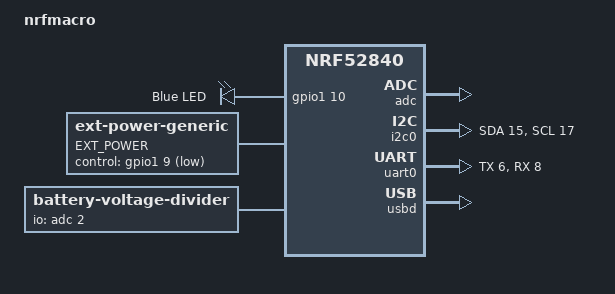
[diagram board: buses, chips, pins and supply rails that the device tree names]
/*
 * Copyright (c) 2020 The ZMK Contributors
 *
 * SPDX-License-Identifier: MIT
 */

/dts-v1/;
#include <nordic/nrf52840_qiaa.dtsi>
#include "arduino_pro_micro_pins.dtsi"

/ {
	model = "nrfmacro";
	compatible = "ufan,nrfmacro";

	chosen {
		zephyr,code-partition = &code_partition;
		zephyr,sram = &sram0;
		zephyr,flash = &flash0;
		zephyr,console = &cdc_acm_uart;
	};

	leds {
		compatible = "gpio-leds";
		blue_led: led_0 {
			gpios = <&gpio1 10 GPIO_ACTIVE_HIGH>;
			label = "Blue LED";
		};
	};

	vcc_ctrl: ext-power {
		compatible = "zmk,ext-power-generic";
		label = "EXT_POWER";
		control-gpios = <&gpio1 9 GPIO_ACTIVE_LOW>;
	};

	vbatt: vbatt {
		compatible = "zmk,battery-voltage-divider";
		label = "BATTERY";
		io-channels = <&adc 2>;
		output-ohms = <2000000>;
		full-ohms = <(2000000 + 820000)>;
	};
};

&adc {
	status = "okay";
};

&gpiote {
	status = "okay";
};

&gpio0 {
	status = "okay";
};

&gpio1 {
	status = "okay";
};

&i2c0 {
	compatible = "nordic,nrf-twi";
	sda-pin = <15>;
	scl-pin = <17>;
};

&uart0 {
	compatible = "nordic,nrf-uarte";
	tx-pin = <6>;
	rx-pin = <8>;
};

&usbd {
	status = "okay";
	cdc_acm_uart: cdc_acm_uart {
		compatible = "zephyr,cdc-acm-uart";
		label = "CDC_ACM_0";
	};
};


&flash0 {
	/*
	 * For more information, see:
	 * http://docs.zephyrproject.org/latest/devices/dts/flash_partitions.html
	 */
	partitions {
		compatible = "fixed-partitions";
		#address-cells = <1>;
		#size-cells = <1>;

		sd_partition: partition@0 {
			label = "softdevice";
			reg = <0x00000000 0x00026000>;
		};
		code_partition: partition@26000 {
			label = "code_partition";
			reg = <0x00026000 0x000c6000>;
		};

		/*
		 * The flash starting at 0x000ec000 and ending at
		 * 0x000f3fff is reserved for use by the application.
		 */

		/*
		 * Storage partition will be used by FCB/LittleFS/NVS
		 * if enabled.
		 */
		storage_partition: partition@ec000 {
			label = "storage";
			reg = <0x000ec000 0x00008000>;
		};

		boot_partition: partition@f4000 {
			label = "adafruit_boot";
			reg = <0x000f4000 0x0000c000>;
		};
	};
};

&spi1 {
  /* nrfmacro.dts */
	compatible = "nordic,nrf-spim";
  sck-pin = <22>;
  mosi-pin = <7>;
  cs-gpios = <&gpio1 0 GPIO_ACTIVE_LOW>;
  // not used, but required by spim binding; can be reuesd in the keymap for normal key press
  miso-pin = <5>;

  /* shield.dtsi */
  status = "disabled";

  // spi-device: gooddisplay GDEW0102T4
  epd: il0323@0 {
    compatible = "gooddisplay,il0323";
    reg = <0>;
    label = "DISPLAY";
    spi-max-frequency = <4000000>;

    height = <128>;
    width = <80>;
    reset-gpios = <&gpio0 12 GPIO_ACTIVE_LOW>;
    dc-gpios    = <&gpio1 2 GPIO_ACTIVE_LOW>;
    busy-gpios  = <&gpio0 26 GPIO_ACTIVE_LOW>;
    pwr = [03 00 26 26];
    cdi = <0xd2>;
    tcon = <0x22>;
  }; 
};

&i2c1 {
	compatible = "nordic,nrf-twi";
	sda-pin = <34>;
	scl-pin = <32>;
  status = "disabled";

  oled: ssd1306@3c {
    compatible = "solomon,ssd1306fb";
    reg = <0x3c>;
    label = "DISPLAY";
    width = <128>;
    height = <32>;
    segment-offset = <0>;
    page-offset = <0>;
    display-offset = <0>;
    multiplex-ratio = <31>;
    segment-remap;
    com-invdir;
    com-sequential;
    prechargep = <0x22>;
  };
};

nrfmacro_spi: &spi1 {};
nrfmacro_i2c: &i2c1 {};

// &pro_micro_spi {
//     status = "disabled";
//     sck-pin = <26>;
//     mosi-pin = <12>;
//     miso-pin = <7>;
//     cs-gpios = <&gpio0 22 GPIO_ACTIVE_LOW>;

//     // trackpad: trackpad@0 {
//     //     compatible = "cirque,pinnacle";
//     //     // status = "okay";
//     //     reg = <0>;
//     //     label = "cirque trackpad";
//     //     spi-max-frequency = <1000000>;
//     //     dr-gpios = <&gpio1 0 GPIO_ACTIVE_HIGH>;
//     //     invert-x;
//     //     sleep;
//     //     /* no-taps; */
//     // };

//     trackball: trackball@0 {
//         compatible = "pixart,pmw33xx";
//         reg = <0>;
//         label = "Pixart PMW3360";
//         cs-gpios = <&gpio0 22 GPIO_ACTIVE_LOW>;
//         motswk-gpios = <&gpio1 0 (GPIO_ACTIVE_LOW | GPIO_PULL_UP)>;
//         spi-max-frequency = <2000000>;
//         cpi = <400>;
//     };
// };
